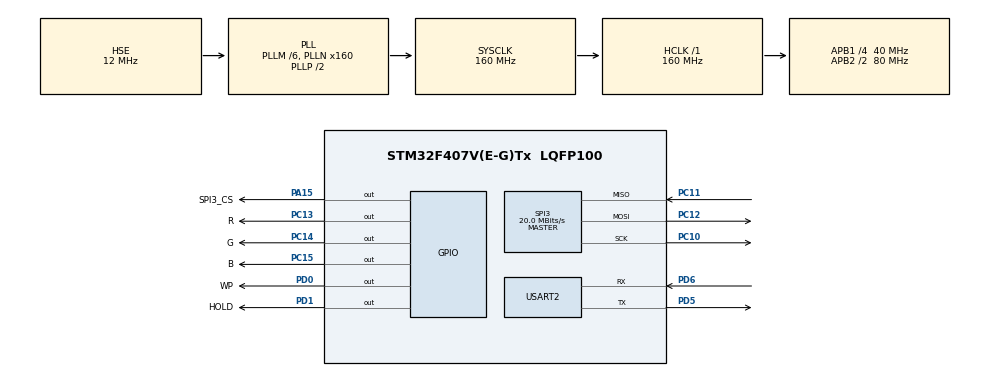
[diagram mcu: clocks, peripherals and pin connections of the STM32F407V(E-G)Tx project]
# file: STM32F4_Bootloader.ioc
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Dma.Request0=USART2_TX
Dma.Request1=USART2_RX
Dma.USART2_RX.1.Direction=DMA_PERIPH_TO_MEMORY
Dma.USART2_RX.1.FIFOMode=DMA_FIFOMODE_DISABLE
Dma.USART2_RX.1.Instance=DMA1_Stream5
Dma.USART2_RX.1.MemDataAlignment=DMA_MDATAALIGN_BYTE
Dma.USART2_RX.1.MemInc=DMA_MINC_ENABLE
Dma.USART2_RX.1.Mode=DMA_CIRCULAR
Dma.USART2_RX.1.PeriphDataAlignment=DMA_PDATAALIGN_BYTE
Dma.USART2_RX.1.PeriphInc=DMA_PINC_DISABLE
Dma.USART2_RX.1.Priority=DMA_PRIORITY_LOW
Dma.USART2_TX.0.Direction=DMA_MEMORY_TO_PERIPH
Dma.USART2_TX.0.FIFOMode=DMA_FIFOMODE_DISABLE
Dma.USART2_TX.0.Instance=DMA1_Stream6
Dma.USART2_TX.0.MemDataAlignment=DMA_MDATAALIGN_BYTE
Dma.USART2_TX.0.MemInc=DMA_MINC_ENABLE
Dma.USART2_TX.0.Mode=DMA_NORMAL
Dma.USART2_TX.0.PeriphDataAlignment=DMA_PDATAALIGN_BYTE
Dma.USART2_TX.0.PeriphInc=DMA_PINC_DISABLE
Dma.USART2_TX.0.Priority=DMA_PRIORITY_LOW
FREERTOS.Queues01=rxDataUART2,16,uint8_t,0,Dynamic,NULL,NULL
FREERTOS.Tasks01=mainTask,0,512,StartMainTask,Default,NULL,Dynamic,NULL,NULL;uartTask,0,512,UartTask,Default,NULL,Dynamic,NULL,NULL;ethTask,0,512,EthTask,Default,NULL,Dynamic,NULL,NULL;bootloaderTask,-3,512,BootloaderTask,Default,NULL,Dynamic,NULL,NULL
FREERTOS.configTOTAL_HEAP_SIZE=24576
FREERTOS.configUSE_NEWLIB_REENTRANT=1
Mcu.Family=STM32F4
Mcu.Name=STM32F407V(E-G)Tx
Mcu.Package=LQFP100
NVIC.DMA1_Stream5_IRQn=true\:5\:0\:false\:false\:true\:true\:false\:true\:true
NVIC.DMA1_Stream6_IRQn=true\:5\:0\:false\:false\:true\:true\:false\:true\:true
NVIC.PriorityGroup=NVIC_PRIORITYGROUP_4
NVIC.TIM8_TRG_COM_TIM14_IRQn=true\:15\:0\:false\:false\:true\:false\:false\:true\:true
NVIC.TimeBase=TIM8_TRG_COM_TIM14_IRQn
NVIC.TimeBaseIP=TIM14
NVIC.USART2_IRQn=true\:5\:0\:false\:false\:true\:true\:true\:true\:true
PA13.Mode=Serial_Wire
PA13.Signal=SYS_JTMS-SWDIO
PA14.Mode=Serial_Wire
PA14.Signal=SYS_JTCK-SWCLK
PA15.GPIO_Label=SPI3_CS
PA15.Signal=GPIO_Output
PC10.Mode=Full_Duplex_Master
PC10.Signal=SPI3_SCK
PC11.Mode=Full_Duplex_Master
PC11.Signal=SPI3_MISO
PC12.Mode=Full_Duplex_Master
PC12.Signal=SPI3_MOSI
PC13-ANTI_TAMP.GPIO_Label=R
PC13-ANTI_TAMP.Signal=GPIO_Output
PC14-OSC32_IN.GPIO_Label=G
PC14-OSC32_IN.Signal=GPIO_Output
PC15-OSC32_OUT.GPIO_Label=B
PC15-OSC32_OUT.Signal=GPIO_Output
PD0.GPIO_Label=WP
PD0.Signal=GPIO_Output
PD1.GPIO_Label=HOLD
PD1.Signal=GPIO_Output
PD5.Mode=Asynchronous
PD5.Signal=USART2_TX
PD6.Mode=Asynchronous
PD6.Signal=USART2_RX
PH0-OSC_IN.Mode=HSE-External-Oscillator
PH0-OSC_IN.Signal=RCC_OSC_IN
PH1-OSC_OUT.Mode=HSE-External-Oscillator
PH1-OSC_OUT.Signal=RCC_OSC_OUT
ProjectManager.HeapSize=0x200
ProjectManager.StackSize=0x400
ProjectManager.TargetToolchain=STM32CubeIDE
RCC.48MHZClocksFreq_Value=80000000
RCC.AHBFreq_Value=160000000
RCC.APB1CLKDivider=RCC_HCLK_DIV4
RCC.APB1Freq_Value=40000000
RCC.APB1TimFreq_Value=80000000
RCC.APB2CLKDivider=RCC_HCLK_DIV2
RCC.APB2Freq_Value=80000000
RCC.APB2TimFreq_Value=160000000
RCC.CortexFreq_Value=160000000
RCC.HCLKFreq_Value=160000000
RCC.HSE_VALUE=12000000
RCC.HSI_VALUE=16000000
RCC.LSE_VALUE=32768
RCC.PLLM=6
RCC.PLLN=160
RCC.PLLSourceVirtual=RCC_PLLSOURCE_HSE
RCC.SYSCLKFreq_VALUE=160000000
RCC.SYSCLKSource=RCC_SYSCLKSOURCE_PLLCLK
RCC.VCOOutputFreq_Value=320000000
SPI3.CalculateBaudRate=20.0 MBits/s
SPI3.Direction=SPI_DIRECTION_2LINES
SPI3.Mode=SPI_MODE_MASTER
SPI3.VirtualType=VM_MASTER
USART2.VirtualMode=VM_ASYNC
VP_FREERTOS_VS_CMSIS_V1.Mode=CMSIS_V1
VP_SYS_VS_tim14.Mode=TIM14
board=custom

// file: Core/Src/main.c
/* USER CODE BEGIN Header */
/**
 ******************************************************************************
 * @file           : main.c
 * @brief          : Main program body
 ******************************************************************************
 * @attention
 *
 * Copyright (c) 2025 STMicroelectronics.
 * All rights reserved.
 *
 * This software is licensed under terms that can be found in the LICENSE file
 * in the root directory of this software component.
 * If no LICENSE file comes with this software, it is provided AS-IS.
 *
 ******************************************************************************
 */
/* USER CODE END Header */
#include "main.h"
#include "cmsis_os.h"
#include "dma.h"
#include "spi.h"
#include "usart.h"
#include "gpio.h"

/* USER CODE BEGIN PV */
// Boot mode and state variables
W25QXX_Device_t w25qxx_dev;  // Устройство SPI Flash
/* USER CODE END PV */

void SystemClock_Config(void);
void MX_FREERTOS_Init(void);

int main(void) {

	/* USER CODE BEGIN 1 */
	/* Initialize bootloader */
	Bootloader_Init();

	/* USER CODE END 1 */

	/* MCU Configuration--------------------------------------------------------*/

	/* Reset of all peripherals, Initializes the Flash interface and the Systick. */
	HAL_Init();

	/* Configure the system clock */
	SystemClock_Config();

	/* Initialize all configured peripherals */
	MX_GPIO_Init();
	MX_DMA_Init();
	MX_USART2_UART_Init();
	MX_SPI3_Init();
	/* USER CODE BEGIN 2 */

	// Чтение настроек
	//W25QXX_ReadSettings(&w25qxx_dev, &settings);
	/* USER CODE END 2 */

	/* Call init function for freertos objects (in cmsis_os2.c) */
	MX_FREERTOS_Init();

	/* Start scheduler */
	osKernelStart();

	/* We should never get here as control is now taken by the scheduler */

	/* Infinite loop */
	while (1) {

	}
}

void SystemClock_Config(void) {
	RCC_OscInitTypeDef RCC_OscInitStruct = { 0 };
	RCC_ClkInitTypeDef RCC_ClkInitStruct = { 0 };

	/** Configure the main internal regulator output voltage
	 */
	__HAL_RCC_PWR_CLK_ENABLE();
	__HAL_PWR_VOLTAGESCALING_CONFIG(PWR_REGULATOR_VOLTAGE_SCALE1);

	/** Initializes the RCC Oscillators according to the specified parameters
	 * in the RCC_OscInitTypeDef structure.
	 */
	RCC_OscInitStruct.OscillatorType = RCC_OSCILLATORTYPE_HSE;
	RCC_OscInitStruct.HSEState = RCC_HSE_ON;
	RCC_OscInitStruct.PLL.PLLState = RCC_PLL_ON;
	RCC_OscInitStruct.PLL.PLLSource = RCC_PLLSOURCE_HSE;
	RCC_OscInitStruct.PLL.PLLM = 6;
	RCC_OscInitStruct.PLL.PLLN = 160;
	RCC_OscInitStruct.PLL.PLLP = RCC_PLLP_DIV2;
	RCC_OscInitStruct.PLL.PLLQ = 4;
	if (HAL_RCC_OscConfig(&RCC_OscInitStruct) != HAL_OK) {
		Error_Handler();
	}

	/** Initializes the CPU, AHB and APB buses clocks
	 */
	RCC_ClkInitStruct.ClockType = RCC_CLOCKTYPE_HCLK | RCC_CLOCKTYPE_SYSCLK
			| RCC_CLOCKTYPE_PCLK1 | RCC_CLOCKTYPE_PCLK2;
	RCC_ClkInitStruct.SYSCLKSource = RCC_SYSCLKSOURCE_PLLCLK;
	RCC_ClkInitStruct.AHBCLKDivider = RCC_SYSCLK_DIV1;
	RCC_ClkInitStruct.APB1CLKDivider = RCC_HCLK_DIV4;
	RCC_ClkInitStruct.APB2CLKDivider = RCC_HCLK_DIV2;

	if (HAL_RCC_ClockConfig(&RCC_ClkInitStruct, FLASH_LATENCY_5) != HAL_OK) {
		Error_Handler();
	}
}

void HAL_TIM_PeriodElapsedCallback(TIM_HandleTypeDef *htim) {
	if (htim->Instance == TIM14) {
		HAL_IncTick();
	}
}

void Error_Handler(void) {
	__disable_irq();
	while (1) {
	}
}

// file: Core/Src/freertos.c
/* USER CODE BEGIN Header */
/**
  ******************************************************************************
  * File Name          : freertos.c
  * Description        : Code for freertos applications
  ******************************************************************************
  * @attention
  *
  * Copyright (c) 2025 STMicroelectronics.
  * All rights reserved.
  *
  * This software is licensed under terms that can be found in the LICENSE file
  * in the root directory of this software component.
  * If no LICENSE file comes with this software, it is provided AS-IS.
  *
  ******************************************************************************
  */
/* USER CODE END Header */

#include "FreeRTOS.h"
#include "task.h"
#include "main.h"
#include "cmsis_os.h"

/* USER CODE BEGIN Includes */
#include "bootloader.h"
/* USER CODE END Includes */

/* USER CODE BEGIN PD */
// Интервал проверки состояния загрузчика в мс
#define BOOTLOADER_CHECK_INTERVAL   1000
/* USER CODE END PD */

/* USER CODE BEGIN Variables */
extern boot_data_t BootloaderData;
static uint32_t lastErrorCode = 0;  // Для отслеживания изменений кода ошибки
/* USER CODE END Variables */
osThreadId mainTaskHandle;
osThreadId uartTaskHandle;
osThreadId ethTaskHandle;
osThreadId bootloaderTaskHandle;
osMessageQId rxDataUART2Handle;

void StartMainTask(void const * argument);
void UartTask(void const * argument);
void EthTask(void const * argument);
void BootloaderTask(void const * argument);

void MX_FREERTOS_Init(void); /* (MISRA C 2004 rule 8.1) */

/* GetIdleTaskMemory prototype (linked to static allocation support) */
void vApplicationGetIdleTaskMemory( StaticTask_t **ppxIdleTaskTCBBuffer, StackType_t **ppxIdleTaskStackBuffer, uint32_t *pulIdleTaskStackSize );

/* USER CODE BEGIN GET_IDLE_TASK_MEMORY */
static StaticTask_t xIdleTaskTCBBuffer;
static StackType_t xIdleStack[configMINIMAL_STACK_SIZE];

void vApplicationGetIdleTaskMemory( StaticTask_t **ppxIdleTaskTCBBuffer, StackType_t **ppxIdleTaskStackBuffer, uint32_t *pulIdleTaskStackSize )
{
  *ppxIdleTaskTCBBuffer = &xIdleTaskTCBBuffer;
  *ppxIdleTaskStackBuffer = &xIdleStack[0];
  *pulIdleTaskStackSize = configMINIMAL_STACK_SIZE;
  /* place for user code */
}
/* USER CODE END GET_IDLE_TASK_MEMORY */

void MX_FREERTOS_Init(void) {

  /* Create the queue(s) */
  /* definition and creation of rxDataUART2 */
  osMessageQDef(rxDataUART2, 16, uint8_t);
  rxDataUART2Handle = osMessageCreate(osMessageQ(rxDataUART2), NULL);

  /* Create the thread(s) */
  /* definition and creation of mainTask */
  osThreadDef(mainTask, StartMainTask, osPriorityNormal, 0, 512);
  mainTaskHandle = osThreadCreate(osThread(mainTask), NULL);

  /* definition and creation of uartTask */
  osThreadDef(uartTask, UartTask, osPriorityNormal, 0, 512);
  uartTaskHandle = osThreadCreate(osThread(uartTask), NULL);

  /* definition and creation of ethTask */
  osThreadDef(ethTask, EthTask, osPriorityNormal, 0, 512);
  ethTaskHandle = osThreadCreate(osThread(ethTask), NULL);

  /* definition and creation of bootloaderTask */
  osThreadDef(bootloaderTask, BootloaderTask, osPriorityIdle, 0, 512);
  bootloaderTaskHandle = osThreadCreate(osThread(bootloaderTask), NULL);

}

void StartMainTask(void const * argument)
{
  /* USER CODE BEGIN StartMainTask */
  /* Infinite loop */
  for(;;)
  {
    // Если загрузчик находится в состоянии ошибки, попытаемся сбросить систему
    if (BootloaderData.status.State == BOOTLOADER_STATE_ERROR) {
      // Проверяем, изменился ли код ошибки
      if (lastErrorCode != BootloaderData.status.ErrorCode) {
        lastErrorCode = BootloaderData.status.ErrorCode;

        // Индикация кода ошибки через LED (мигаем синим LED N раз, где N - код ошибки)
        for (uint8_t i = 0; i < lastErrorCode; i++) {
          HAL_GPIO_WritePin(B_GPIO_Port, B_Pin, GPIO_PIN_RESET);
          osDelay(200);
          HAL_GPIO_WritePin(B_GPIO_Port, B_Pin, GPIO_PIN_SET);
          osDelay(200);
        }
      }

      // Задержка перед сбросом - увеличена для обеспечения видимости индикации ошибки
      osDelay(10000);
      // Сброс системы только при критических ошибках
      if (lastErrorCode >= BOOTLOADER_ERROR_FLASH_INIT_FAILED) {
        NVIC_SystemReset();
      }
    }

    // Проверка состояния системы
    osDelay(BOOTLOADER_CHECK_INTERVAL);
  }
  /* USER CODE END StartMainTask */
}

void UartTask(void const * argument)
{
  /* USER CODE BEGIN UartTask */
  /* Infinite loop */
  for(;;)
  {
    osDelay(100);
  }
  /* USER CODE END UartTask */
}

void EthTask(void const * argument)
{
  /* USER CODE BEGIN EthTask */
  /* Infinite loop */
  for(;;)
  {
    // Обработка Ethernet для загрузчика
    osDelay(10);
  }
  /* USER CODE END EthTask */
}

void BootloaderTask(void const * argument)
{
  /* USER CODE BEGIN BootloaderTask */
  // Краткая задержка перед началом работы, чтобы дать другим задачам инициализироваться
  osDelay(500);

  /* Infinite loop */
  for(;;)
  {
    // Вызываем функцию обработки состояния загрузчика
    Bootloader_Run();

    // Короткая задержка для передачи управления другим задачам
    osDelay(10);
  }
  /* USER CODE END BootloaderTask */
}
